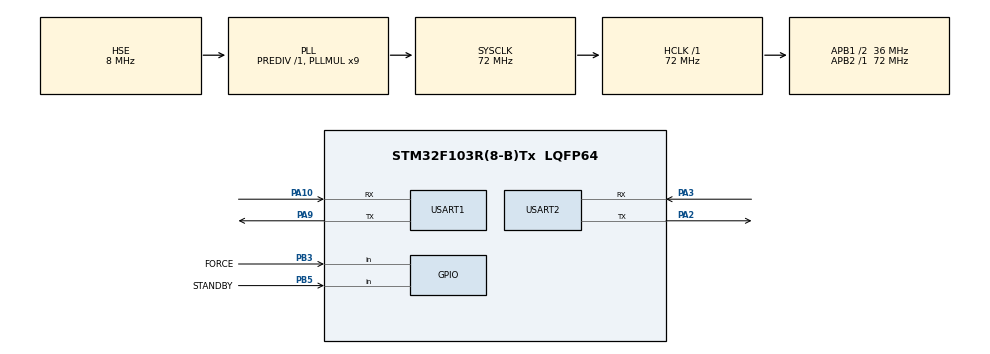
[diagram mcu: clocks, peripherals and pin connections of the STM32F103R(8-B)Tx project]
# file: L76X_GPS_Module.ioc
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Mcu.Family=STM32F1
Mcu.Name=STM32F103R(8-B)Tx
Mcu.Package=LQFP64
NVIC.PriorityGroup=NVIC_PRIORITYGROUP_4
PA10.Mode=Asynchronous
PA10.Signal=USART1_RX
PA13.Mode=Serial_Wire
PA13.Signal=SYS_JTMS-SWDIO
PA14.Mode=Serial_Wire
PA14.Signal=SYS_JTCK-SWCLK
PA2.Mode=Asynchronous
PA2.Signal=USART2_TX
PA3.Mode=Asynchronous
PA3.Signal=USART2_RX
PA9.Mode=Asynchronous
PA9.Signal=USART1_TX
PB3.GPIO_Label=FORCE
PB3.Signal=GPIO_Input
PB5.GPIO_Label=STANDBY
PB5.Signal=GPIO_Input
PD0-OSC_IN.Mode=HSE-External-Oscillator
PD0-OSC_IN.Signal=RCC_OSC_IN
PD1-OSC_OUT.Mode=HSE-External-Oscillator
PD1-OSC_OUT.Signal=RCC_OSC_OUT
ProjectManager.HeapSize=0x200
ProjectManager.StackSize=0x400
ProjectManager.TargetToolchain=MDK-ARM V5
RCC.AHBFreq_Value=72000000
RCC.APB1CLKDivider=RCC_HCLK_DIV2
RCC.APB1Freq_Value=36000000
RCC.APB1TimFreq_Value=72000000
RCC.APB2Freq_Value=72000000
RCC.APB2TimFreq_Value=72000000
RCC.HCLKFreq_Value=72000000
RCC.PLLMUL=RCC_PLL_MUL9
RCC.PLLSourceVirtual=RCC_PLLSOURCE_HSE
RCC.SYSCLKFreq_VALUE=72000000
RCC.SYSCLKSource=RCC_SYSCLKSOURCE_PLLCLK
RCC.USBFreq_Value=72000000
USART1.VirtualMode=VM_ASYNC
USART2.VirtualMode=VM_ASYNC
board=custom

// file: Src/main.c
/* USER CODE BEGIN Header */
/**
  ******************************************************************************
  * @file           : main.c
  * @brief          : Main program body
  ******************************************************************************
  ** This notice applies to any and all portions of this file
  * that are not between comment pairs USER CODE BEGIN and
  * USER CODE END. Other portions of this file, whether
  * inserted by the user or by software development tools
  * are owned by their respective copyright owners.
  *
  * COPYRIGHT(c) 2019 STMicroelectronics
  *
  * Redistribution and use in source and binary forms, with or without modification,
  * are permitted provided that the following conditions are met:
  *   1. Redistributions of source code must retain the above copyright notice,
  *      this list of conditions and the following disclaimer.
  *   2. Redistributions in binary form must reproduce the above copyright notice,
  *      this list of conditions and the following disclaimer in the documentation
  *      and/or other materials provided with the distribution.
  *   3. Neither the name of STMicroelectronics nor the names of its contributors
  *      may be used to endorse or promote products derived from this software
  *      without specific prior written permission.
  *
  * THIS SOFTWARE IS PROVIDED BY THE COPYRIGHT HOLDERS AND CONTRIBUTORS "AS IS"
  * AND ANY EXPRESS OR IMPLIED WARRANTIES, INCLUDING, BUT NOT LIMITED TO, THE
  * IMPLIED WARRANTIES OF MERCHANTABILITY AND FITNESS FOR A PARTICULAR PURPOSE ARE
  * DISCLAIMED. IN NO EVENT SHALL THE COPYRIGHT HOLDER OR CONTRIBUTORS BE LIABLE
  * FOR ANY DIRECT, INDIRECT, INCIDENTAL, SPECIAL, EXEMPLARY, OR CONSEQUENTIAL
  * DAMAGES (INCLUDING, BUT NOT LIMITED TO, PROCUREMENT OF SUBSTITUTE GOODS OR
  * SERVICES; LOSS OF USE, DATA, OR PROFITS; OR BUSINESS INTERRUPTION) HOWEVER
  * CAUSED AND ON ANY THEORY OF LIABILITY, WHETHER IN CONTRACT, STRICT LIABILITY,
  * OR TORT (INCLUDING NEGLIGENCE OR OTHERWISE) ARISING IN ANY WAY OUT OF THE USE
  * OF THIS SOFTWARE, EVEN IF ADVISED OF THE POSSIBILITY OF SUCH DAMAGE.
  *
  ******************************************************************************
  */
/* USER CODE END Header */

#include "main.h"
#include "usart.h"
#include "gpio.h"

/* USER CODE BEGIN Includes */
#include "DEV_Config.h"
#include "L76X.h"

/* USER CODE END Includes */

void SystemClock_Config(void);

/* USER CODE BEGIN 0 */
int fputc(int ch, FILE *f)
{
	HAL_UART_Transmit(&huart2, (uint8_t *)&ch, 1, 0xFFFF);
	return ch;
}

/* USER CODE END 0 */

int main(void)
{
  /* USER CODE BEGIN 1 */
	GNRMC GPS;
	Coordinates Baidu;
  /* USER CODE END 1 */

  /* MCU Configuration--------------------------------------------------------*/

  /* Reset of all peripherals, Initializes the Flash interface and the Systick. */
  HAL_Init();

  /* Configure the system clock */
  SystemClock_Config();

  /* Initialize all configured peripherals */
  MX_GPIO_Init();
  MX_USART1_UART_Init();
  MX_USART2_UART_Init();
  /* USER CODE BEGIN 2 */

	DEV_Uart_SendByte('1');
	DEV_Delay_ms(100);
	DEV_Set_Baudrate(9600);
	DEV_Delay_ms(100);

	printf("Change the L76X output baud rate to 115200 \r\n");
	L76X_Send_Command(SET_NMEA_BAUDRATE_115200);
	DEV_Delay_ms(100);

	DEV_Delay_ms(100);
	DEV_Set_Baudrate(115200);
	DEV_Delay_ms(100);

	printf("Set to normal mode\r\n");
	L76X_Send_Command(SET_NORMAL_MODE);

	printf("Set the output data interval to 400ms\r\n");
	L76X_Send_Command(SET_POS_FIX_400MS);

  /* USER CODE END 2 */

  /* Infinite loop */
  while (1)
  {

    /* USER CODE BEGIN 3 */
		GPS = L76X_Gat_GNRMC();
		printf("Time: %d:%d:%d \r\n", GPS.Time_H, GPS.Time_M, GPS.Time_S);
		printf("Latitude and longitude: %lf  %c  %lf  %c\r\n", GPS.Lat, GPS.Lat_area, GPS.Lon, GPS.Lon_area);
		Baidu = L76X_Baidu_Coordinates();
		printf("Baudu Coordinates   %lf,%lf    \r\n", Baidu.Lat, Baidu.Lon);
  }
  /* USER CODE END 3 */
}

void SystemClock_Config(void)
{
  RCC_OscInitTypeDef RCC_OscInitStruct = {0};
  RCC_ClkInitTypeDef RCC_ClkInitStruct = {0};

  /**Initializes the CPU, AHB and APB busses clocks
  */
  RCC_OscInitStruct.OscillatorType = RCC_OSCILLATORTYPE_HSE;
  RCC_OscInitStruct.HSEState = RCC_HSE_ON;
  RCC_OscInitStruct.HSEPredivValue = RCC_HSE_PREDIV_DIV1;
  RCC_OscInitStruct.HSIState = RCC_HSI_ON;
  RCC_OscInitStruct.PLL.PLLState = RCC_PLL_ON;
  RCC_OscInitStruct.PLL.PLLSource = RCC_PLLSOURCE_HSE;
  RCC_OscInitStruct.PLL.PLLMUL = RCC_PLL_MUL9;
  if (HAL_RCC_OscConfig(&RCC_OscInitStruct) != HAL_OK)
  {
    Error_Handler();
  }
  /**Initializes the CPU, AHB and APB busses clocks
  */
  RCC_ClkInitStruct.ClockType = RCC_CLOCKTYPE_HCLK|RCC_CLOCKTYPE_SYSCLK
                              |RCC_CLOCKTYPE_PCLK1|RCC_CLOCKTYPE_PCLK2;
  RCC_ClkInitStruct.SYSCLKSource = RCC_SYSCLKSOURCE_PLLCLK;
  RCC_ClkInitStruct.AHBCLKDivider = RCC_SYSCLK_DIV1;
  RCC_ClkInitStruct.APB1CLKDivider = RCC_HCLK_DIV2;
  RCC_ClkInitStruct.APB2CLKDivider = RCC_HCLK_DIV1;

  if (HAL_RCC_ClockConfig(&RCC_ClkInitStruct, FLASH_LATENCY_2) != HAL_OK)
  {
    Error_Handler();
  }
}

void Error_Handler(void)
{
}

/************************ (C) COPYRIGHT STMicroelectronics *****END OF FILE****/
